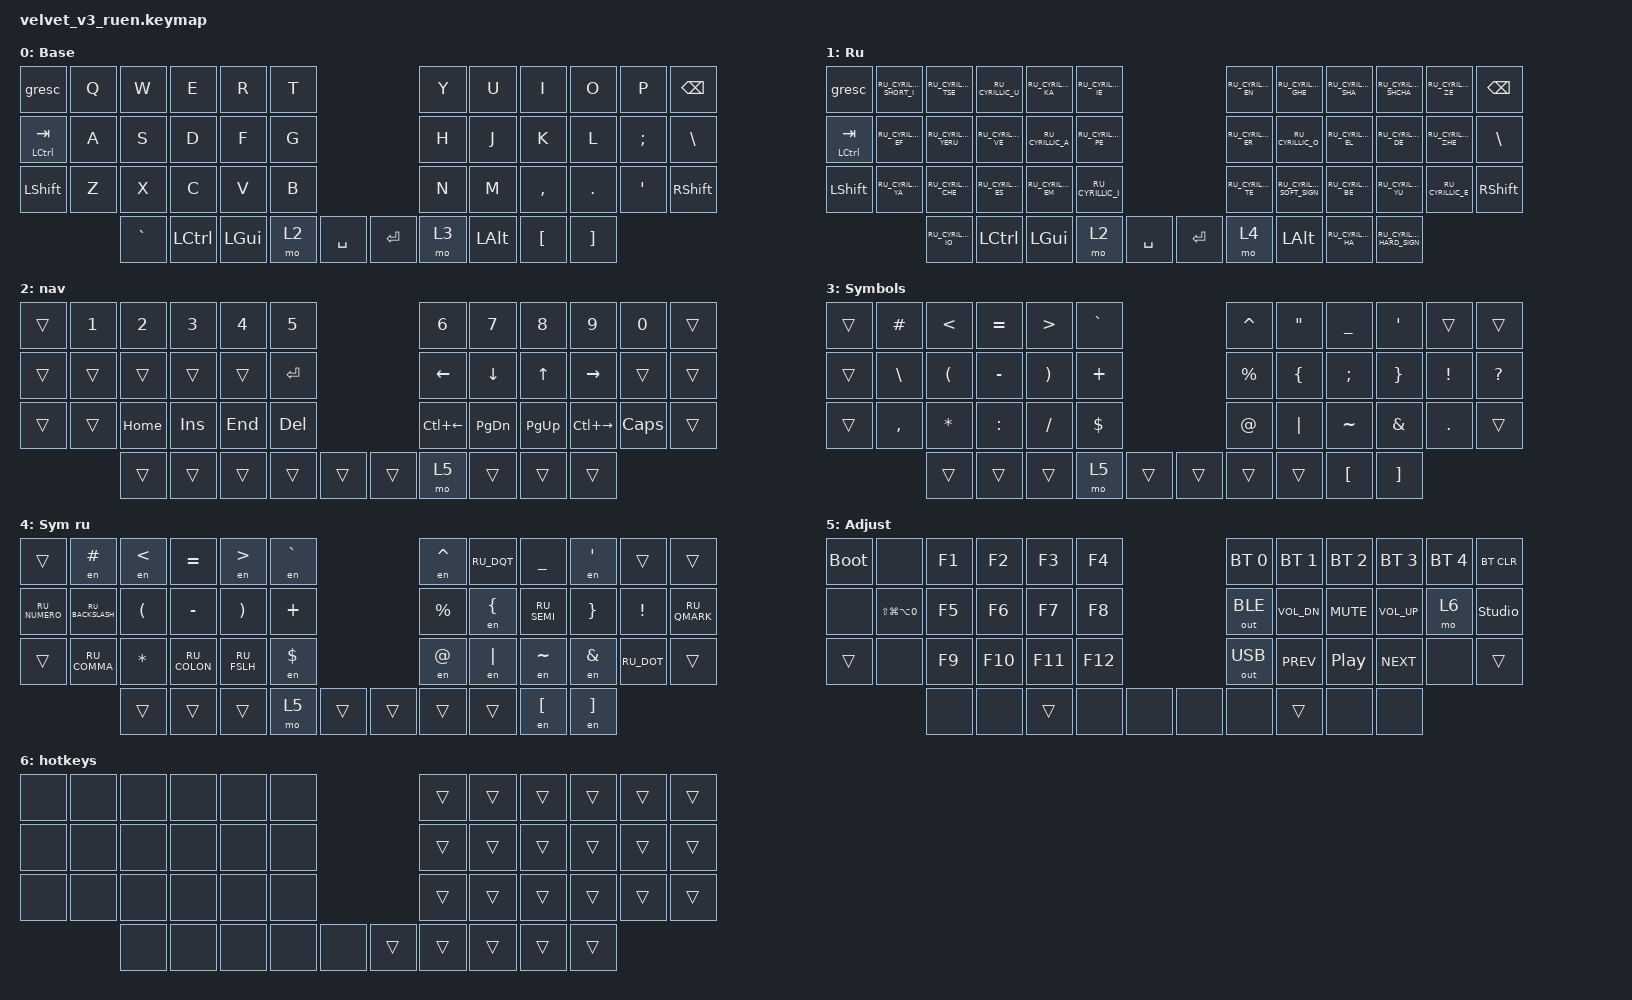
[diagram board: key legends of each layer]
#include "keys_ru.h"
#include <behaviors.dtsi>
#include <dt-bindings/zmk/bt.h>
#include <dt-bindings/zmk/keys.h>
#include <dt-bindings/zmk/outputs.h>

&gresc { keep-mods = <(MOD_LGUI|MOD_RSFT)>; };

/ {
    combos {
        compatible = "zmk,combos";

        cmben {
            bindings = <&layer_en>;
            key-positions = <16 19>;
            layers = <1>;
        };

        cmbru {
            bindings = <&layer_ru>;
            key-positions = <16 19>;
            layers = <0>;
        };
    };

    macros {
        to_ru: to_ru {
            compatible = "zmk,behavior-macro";
            #binding-cells = <0>;
            bindings = <&kp LS(LC(N2))>;
            label = "TO_RU";
            wait-ms = <0>;
            tap-ms = <30>;
        };

        to_en: to_en {
            compatible = "zmk,behavior-macro";
            #binding-cells = <0>;
            bindings = <&kp LS(LC(N1))>;
            label = "TO_EN";
            wait-ms = <0>;
            tap-ms = <30>;
        };

        layer_en: layer_en {
            compatible = "zmk,behavior-macro";
            #binding-cells = <0>;
            bindings = <&to 0 &to_en>;
            label = "LAYER_EN";
            wait-ms = <0>;
            tap-ms = <30>;
        };

        layer_ru: layer_ru {
            compatible = "zmk,behavior-macro";
            #binding-cells = <0>;
            bindings = <&to 1 &to_ru>;
            label = "LAYER_RU";
            tap-ms = <30>;
            wait-ms = <0>;
        };

        en: en {
            compatible = "zmk,behavior-macro-one-param";
            #binding-cells = <1>;
            bindings =
                <&to_en>,
                <&macro_press>,
                <&macro_param_1to1 &kp MACRO_PLACEHOLDER>,
                <&macro_pause_for_release>,
                <&macro_release>,
                <&macro_param_1to1 &kp MACRO_PLACEHOLDER>,
                <&macro_tap>,
                <&to_ru>;

            label = "EN";
            wait-ms = <0>;
            tap-ms = <30>;
        };
    };

    keymap {
        compatible = "zmk,keymap";

        en {
            bindings = <
&gresc         &kp Q  &kp W      &kp E      &kp R     &kp T                        &kp Y  &kp U     &kp I      &kp O     &kp P     &kp BSPC
&mt LCTRL TAB  &kp A  &kp S      &kp D      &kp F     &kp G                        &kp H  &kp J     &kp K      &kp L     &kp SEMI  &kp BSLH
&kp LSHFT      &kp Z  &kp X      &kp C      &kp V     &kp B                        &kp N  &kp M     &kp COMMA  &kp DOT   &kp SQT   &kp RSHFT
                      &kp GRAVE  &kp LCTRL  &kp LGUI  &mo 2  &kp SPACE    &kp RET  &mo 3  &kp LALT  &kp LBKT   &kp RBKT
            >;

            display-name = "Base";
        };

        ru {
            display-name = "Ru";
            bindings = <
&gresc                &kp RU_CYRILLIC_SHORT_I  &kp RU_CYRILLIC_TSE   &kp RU_CYRILLIC_U   &kp RU_CYRILLIC_KA  &kp RU_CYRILLIC_IE                        &kp RU_CYRILLIC_EN  &kp RU_CYRILLIC_GHE        &kp RU_CYRILLIC_SHA  &kp RU_CYRILLIC_SHCHA      &kp RU_CYRILLIC_ZE   &kp BSPC
&mt LEFT_CONTROL TAB  &kp RU_CYRILLIC_EF       &kp RU_CYRILLIC_YERU  &kp RU_CYRILLIC_VE  &kp RU_CYRILLIC_A   &kp RU_CYRILLIC_PE                        &kp RU_CYRILLIC_ER  &kp RU_CYRILLIC_O          &kp RU_CYRILLIC_EL   &kp RU_CYRILLIC_DE         &kp RU_CYRILLIC_ZHE  &kp BSLH
&kp LSHFT             &kp RU_CYRILLIC_YA       &kp RU_CYRILLIC_CHE   &kp RU_CYRILLIC_ES  &kp RU_CYRILLIC_EM  &kp RU_CYRILLIC_I                         &kp RU_CYRILLIC_TE  &kp RU_CYRILLIC_SOFT_SIGN  &kp RU_CYRILLIC_BE   &kp RU_CYRILLIC_YU         &kp RU_CYRILLIC_E    &kp RSHFT
                                               &kp RU_CYRILLIC_IO    &kp LCTRL           &kp LGUI            &mo 2               &kp SPACE    &kp RET  &mo 4               &kp LALT                   &kp RU_CYRILLIC_HA   &kp RU_CYRILLIC_HARD_SIGN
            >;
        };

        nav {
            bindings = <
&trans  &kp N1  &kp N2    &kp N3   &kp N4   &kp N5                     &kp N6        &kp N7         &kp N8       &kp N9         &kp N0        &trans
&trans  &trans  &trans    &trans   &trans   &kp RET                    &kp LEFT      &kp DOWN       &kp UP       &kp RIGHT      &trans        &trans
&trans  &trans  &kp HOME  &kp INS  &kp END  &kp DEL                    &kp LC(LEFT)  &kp PAGE_DOWN  &kp PAGE_UP  &kp LC(RIGHT)  &kp CAPSLOCK  &trans
                &trans    &trans   &trans   &trans   &trans    &trans  &mo 5         &trans         &trans       &trans
            >;

            display-name = "nav";
            label = "Navigation";
        };

        sym_en {
            bindings = <
&trans  &kp HASH   &kp LT    &kp EQUAL  &kp GT    &kp GRAVE                    &kp CARET  &kp DQT   &kp UNDER  &kp SQT   &trans    &trans
&trans  &kp BSLH   &kp LPAR  &kp MINUS  &kp RPAR  &kp PLUS                     &kp PRCNT  &kp LBRC  &kp SEMI   &kp RBRC  &kp EXCL  &kp QUESTION
&trans  &kp COMMA  &kp STAR  &kp COLON  &kp FSLH  &kp DLLR                     &kp AT     &kp PIPE  &kp TILDE  &kp AMPS  &kp DOT   &trans
                   &trans    &trans     &trans    &mo 5      &trans    &trans  &trans     &trans    &kp LBKT   &kp RBKT
            >;

            display-name = "Symbols";
        };

        sym_ru {
            display-name = "Sym ru";
            bindings = <
&trans         &en HASH          &en LT    &kp EQUAL     &en GT       &en GRAVE                    &en CARET  &kp RU_DQT  &kp UNDER    &en SQT   &trans      &trans
&kp RU_NUMERO  &kp RU_BACKSLASH  &kp LPAR  &kp MINUS     &kp RPAR     &kp PLUS                     &kp PRCNT  &en LBRC    &kp RU_SEMI  &kp RBRC  &kp EXCL    &kp RU_QMARK
&trans         &kp RU_COMMA      &kp STAR  &kp RU_COLON  &kp RU_FSLH  &en DLLR                     &en AT     &en PIPE    &en TILDE    &en AMPS  &kp RU_DOT  &trans
                                 &trans    &trans        &trans       &mo 5      &trans    &trans  &trans     &trans      &en LBKT     &en RBKT
            >;
        };

        adj {
            bindings = <
&bootloader  &none               &kp F1  &kp F2   &kp F3   &kp F4                   &bt BT_SEL 0  &bt BT_SEL 1  &bt BT_SEL 2      &bt BT_SEL 3  &bt BT_SEL 4  &bt BT_CLR
&none        &kp LS(LG(LA(N0)))  &kp F5  &kp F6   &kp F7   &kp F8                   &out OUT_BLE  &kp C_VOL_DN  &kp K_MUTE        &kp C_VOL_UP  &mo 6         &studio_unlock
&trans       &none               &kp F9  &kp F10  &kp F11  &kp F12                  &out OUT_USB  &kp C_PREV    &kp C_PLAY_PAUSE  &kp C_NEXT    &none         &trans
                                 &none   &none    &trans   &none    &none    &none  &none         &trans        &none             &none
            >;

            display-name = "Adjust";
        };

        hotkeys {
            bindings = <
&none  &none  &none  &none  &none  &none                   &trans  &trans  &trans  &trans  &trans  &trans
&none  &none  &none  &none  &none  &none                   &trans  &trans  &trans  &trans  &trans  &trans
&none  &none  &none  &none  &none  &none                   &trans  &trans  &trans  &trans  &trans  &trans
              &none  &none  &none  &none  &none    &trans  &trans  &trans  &trans  &trans
            >;
        };
    };
};
